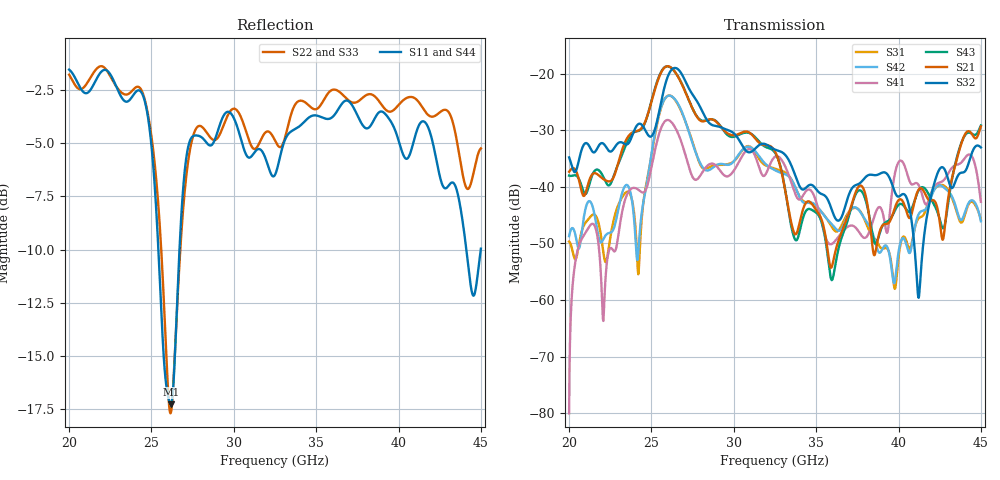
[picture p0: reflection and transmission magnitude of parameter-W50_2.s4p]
! TOUCHSTONE file generated by CST MICROWAVE STUDIO
! Date and time: Fri Jun  7 22:58:35 2024
! Project name: Final_26GHz_linear.cst
! Parameters = {tand=0.0037; Connector_spacing=15.33; Coplanar_gap=0.4595; Distance_inner=4.78238; Distance_outer=14.3471; L=2.6; L_pad=5; Length_strip_inner=24.3924; Length_strip_outer=27.8919; Pad_via_diameter=2.1; Pad_via_x_centre=3.75; Pad_via_z_centre=2.8; Patch_spacing=5.76524; Via_diameter=0.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
! Header version: 2024
! Port assignment regex: !\s*Touchstone port\s*([0-9]+)\s*=\s*(CST MWS port|CST DES external port|CST DES block port)\s*(.+)\s* \(\"(.*)\"\)(\s*mode\s*([0-9]+))?.*
! Touchstone port assignment:
! Touchstone port 1 = CST MWS port 1 ("")
! Touchstone port 2 = CST MWS port 2 ("")
! Touchstone port 3 = CST MWS port 3 ("")
! Touchstone port 4 = CST MWS port 4 ("")
# GHz S MA R 50
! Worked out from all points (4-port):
!   1001 points, 20 GHz to 45 GHz, reference 50 ohm
!   strongest paths, dB at 20 GHz, 26.25 GHz, 32.5 GHz, 38.75 GHz, 45 GHz:
!     S32: -34.8, -19.2, -33.4, -37.8, -33.0
!     S21: -37.3, -19.1, -33.7, -49.2, -29.3
!     S43: -38.0, -19.1, -33.9, -49.2, -29.2
!     S41: -80.0, -28.7, -34.7, -43.7, -42.6
!     S42: -48.7, -24.0, -37.1, -51.3, -46.1
!     S31: -49.7, -24.0, -36.8, -50.1, -45.8
!   lowest |S11| = -17.3 dB at 26.18 GHz (marker M1), VSWR 1.32, Z = 59.2 + j11.9 ohm
!   |S11| at or under -10 dB: 25.42 GHz to 26.7 GHz (1.28 GHz wide, 4.91 % of centre); 44.12 GHz to 44.99 GHz (875.2 MHz wide, 1.96 % of centre)
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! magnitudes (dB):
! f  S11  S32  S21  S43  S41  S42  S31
! 20 GHz  -1.5  -34.8  -37.3  -38.0  -80.0  -48.7  -49.7
! 20.65 GHz  -2.4  -34.6  -39.4  -39.0  -49.9  -50.5  -49.3
! 24.2 GHz  -2.5  -28.9  -30.0  -30.1  -40.5  -51.6  -55.4
! 26.18 GHz  -17.3  -19.4  -18.9  -18.9  -28.4  -23.9  -23.9
! 35.95 GHz  -3.8  -44.1  -54.1  -56.5  -50.1  -46.6  -47.1
! 41.23 GHz  -4.2  -59.6  -40.5  -40.6  -39.7  -44.8  -45.5
! 45 GHz  -10.0  -33.0  -29.3  -29.2  -42.6  -46.1  -45.8
